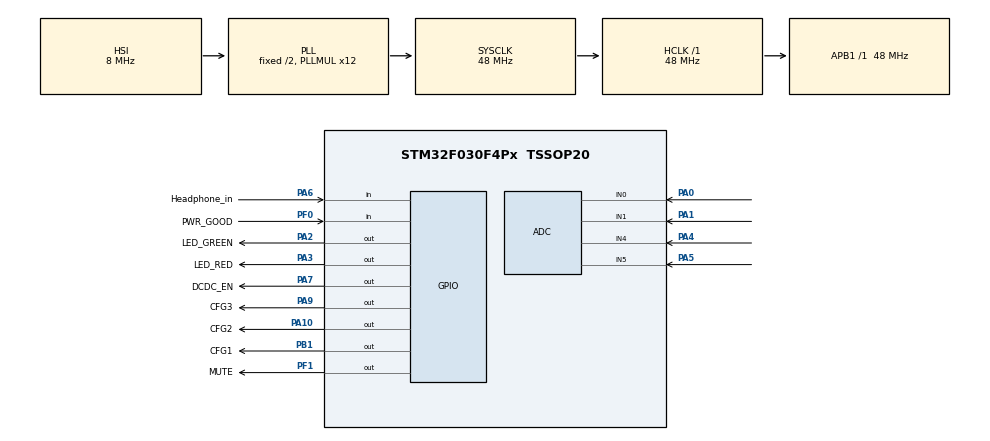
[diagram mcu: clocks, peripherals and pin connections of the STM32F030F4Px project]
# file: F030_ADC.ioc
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ADC.ClockPrescaler=ADC_CLOCK_SYNC_PCLK_DIV4
ADC.ContinuousConvMode=ENABLE
ADC.DMAContinuousRequests=ENABLE
ADC.EOCSelection=ADC_EOC_SEQ_CONV
ADC.ExternalTrigConv=ADC_SOFTWARE_START
ADC.SamplingTime=ADC_SAMPLETIME_239CYCLES_5
ADC.ScanConvMode=ADC_SCAN_DIRECTION_FORWARD
Dma.ADC.0.Direction=DMA_PERIPH_TO_MEMORY
Dma.ADC.0.Instance=DMA1_Channel1
Dma.ADC.0.MemDataAlignment=DMA_MDATAALIGN_HALFWORD
Dma.ADC.0.MemInc=DMA_MINC_ENABLE
Dma.ADC.0.Mode=DMA_CIRCULAR
Dma.ADC.0.PeriphDataAlignment=DMA_PDATAALIGN_HALFWORD
Dma.ADC.0.PeriphInc=DMA_PINC_DISABLE
Dma.ADC.0.Priority=DMA_PRIORITY_LOW
Dma.Request0=ADC
Mcu.Family=STM32F0
Mcu.Name=STM32F030F4Px
Mcu.Package=TSSOP20
NVIC.TIM14_IRQn=true\:0\:0\:true\:false\:true\:true\:true\:true
NVIC.TIM16_IRQn=true\:0\:0\:false\:false\:true\:true\:true\:true
NVIC.TIM1_BRK_UP_TRG_COM_IRQn=true\:2\:0\:true\:false\:true\:true\:true\:true
NVIC.TIM3_IRQn=true\:0\:0\:true\:false\:true\:true\:true\:true
PA0.Mode=IN0
PA0.Signal=ADC_IN0
PA1.Mode=IN1
PA1.Signal=ADC_IN1
PA10.GPIO_Label=CFG2
PA10.GPIO_PuPd=GPIO_PULLDOWN
PA10.Signal=GPIO_Output
PA13.Mode=Serial_Wire
PA13.Signal=SYS_SWDIO
PA14.Mode=Serial_Wire
PA14.Signal=SYS_SWCLK
PA2.GPIO_Label=LED_GREEN
PA2.GPIO_PuPd=GPIO_NOPULL
PA2.PinState=GPIO_PIN_RESET
PA2.Signal=GPIO_Output
PA3.GPIO_Label=LED_RED
PA3.Signal=GPIO_Output
PA4.Mode=IN4
PA4.Signal=ADC_IN4
PA5.Mode=IN5
PA5.Signal=ADC_IN5
PA6.GPIO_Label=Headphone_in
PA6.GPIO_PuPd=GPIO_NOPULL
PA6.Signal=GPIO_Input
PA7.GPIO_Label=DCDC_EN
PA7.Signal=GPIO_Output
PA9.GPIO_Label=CFG3
PA9.GPIO_PuPd=GPIO_PULLDOWN
PA9.Signal=GPIO_Output
PB1.GPIO_Label=CFG1
PB1.GPIO_PuPd=GPIO_PULLUP
PB1.PinState=GPIO_PIN_RESET
PB1.Signal=GPIO_Output
PF0-OSC_IN.GPIO_Label=PWR_GOOD
PF0-OSC_IN.GPIO_PuPd=GPIO_PULLUP
PF0-OSC_IN.Signal=GPIO_Input
PF1-OSC_OUT.GPIO_Label=MUTE
PF1-OSC_OUT.Signal=GPIO_Output
ProjectManager.HeapSize=0x200
ProjectManager.StackSize=0x400
ProjectManager.TargetToolchain=MDK-ARM V5.32
RCC.AHBFreq_Value=48000000
RCC.APB1Freq_Value=48000000
RCC.APB1TimFreq_Value=48000000
RCC.HCLKFreq_Value=48000000
RCC.PLLMUL=RCC_PLL_MUL12
RCC.SYSCLKFreq_VALUE=48000000
RCC.SYSCLKSource=RCC_SYSCLKSOURCE_PLLCLK
TIM1.AutoReloadPreload=TIM_AUTORELOAD_PRELOAD_ENABLE
TIM1.Period=1000-1
TIM1.Prescaler=48-1
TIM14.Period=10000-1
TIM14.Prescaler=4800-1
TIM16.AutoReloadPreload=TIM_AUTORELOAD_PRELOAD_DISABLE
TIM16.Period=10000-1
TIM16.Prescaler=48000-1
TIM3.Period=100-1
TIM3.Prescaler=48-1
TIM3.TIM_MasterOutputTrigger=TIM_TRGO_RESET
VP_TIM14_VS_ClockSourceINT.Mode=Enable_Timer
VP_TIM16_VS_ClockSourceINT.Mode=Enable_Timer
VP_TIM1_VS_ClockSourceINT.Mode=Internal
VP_TIM3_VS_ClockSourceINT.Mode=Internal
board=custom

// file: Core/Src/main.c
/* USER CODE BEGIN Header */
/**
  ******************************************************************************
  * @file           : main.c
  * @brief          : Main program body
  ******************************************************************************
  * @attention
  *
  * Copyright (c) 2024 STMicroelectronics.
  * All rights reserved.
  *
  * This software is licensed under terms that can be found in the LICENSE file
  * in the root directory of this software component.
  * If no LICENSE file comes with this software, it is provided AS-IS.
  *
  ******************************************************************************
  */
/* USER CODE END Header */
#include "main.h"
#include "adc.h"
#include "dma.h"
#include "tim.h"
#include "gpio.h"

/* USER CODE BEGIN Includes */
enum State //功放状态
{
  IDLE,//初始状态
  INIT,//上电初始化状态
  WORKING,//正常工作状态
  SLEEP,//休眠状态
  SHUTDOWN,//关闭状态
};
uint8_t  sys_state = IDLE;//状态
//ADC数组
uint16_t ADC_data[4] = {0}; //定义ADC数组
uint16_t sys_sleep_req = 0;//系统睡眠请求
/* USER CODE END Includes */

/* USER CODE BEGIN PTD */
/**
 * @description: PD诱骗器函数
 * @event:
 * @return {*}
 */
void USB_PD_Init(void)
{
  //请求9V电压
  HAL_GPIO_WritePin(CFG1_GPIO_Port,CFG1_Pin,GPIO_PIN_RESET);//拉低CFG1
  HAL_GPIO_WritePin(CFG2_GPIO_Port,CFG2_Pin,GPIO_PIN_RESET);//拉低cfg2
  HAL_GPIO_WritePin(CFG3_GPIO_Port,CFG3_Pin,GPIO_PIN_RESET);//拉低cfg3
}

/**
 * @description: 解除PD诱骗函数
 * @event:
 * @return {*}
 */
void USB_PD_DeInit(void)
{
  HAL_GPIO_WritePin(CFG1_GPIO_Port,CFG1_Pin,GPIO_PIN_SET);//拉高CFG1 请求5V电压
}

/**
 * @description: 错误处理函数
 * @event: 直流检测出现错误时进入 立刻关闭电源进行保护
 * @return {*}
 */
void My_Error_Handle(void)
{
  __IO uint16_t time = 0xffff;
  __disable_irq();//关闭所有中断
  MUTE_GPIO_Port -> BRR = MUTE_Pin;//关闭继电器 静音
  DCDC_EN_GPIO_Port -> BRR = DCDC_EN_Pin;//关闭功放电源
  LED_GREEN_GPIO_Port -> BSRR = LED_GREEN_Pin;//关闭work灯
  while (1)
  {
    //LED红灯闪烁提示
    HAL_GPIO_TogglePin(LED_RED_GPIO_Port,LED_RED_Pin);//红灯闪烁
    for (uint8_t i = 0; i < 20; i++)
    {
      while (time--);
      time = 0xffff;
    }
    //不能使用systick进行延时，以免在中断中出错时卡死
  }
}

/**
 * @description: SWD接口复用 重新初始化函数
 * @event: 把SWD接口复用成普通GPIO使用
 * @return {*}
 */
void SWD_GPIO_ReInit()
{
  GPIO_InitTypeDef GPIO_InitStruct = {0};
  HAL_GPIO_WritePin(Aux_in_GPIO_Port, Aux_in_Pin, GPIO_PIN_RESET);
  HAL_GPIO_WritePin(PWR_CON_GPIO_Port, PWR_CON_Pin, GPIO_PIN_RESET);
  /*Configure GPIO pin : PtPin */
  //初始化信源插入检测端口
  GPIO_InitStruct.Pin = Aux_in_Pin;
  GPIO_InitStruct.Mode = GPIO_MODE_INPUT;
  GPIO_InitStruct.Pull = GPIO_NOPULL;//浮空输入 使用外部1MΩ上拉电阻
  HAL_GPIO_Init(Aux_in_GPIO_Port, &GPIO_InitStruct);
  /*Configure GPIO pin : PtPin */
  //初始化电源开关输入IO
  GPIO_InitStruct.Pin = PWR_CON_Pin;
  GPIO_InitStruct.Mode = GPIO_MODE_INPUT;
  GPIO_InitStruct.Pull = GPIO_PULLUP;//上拉输入模式
  HAL_GPIO_Init(PWR_CON_GPIO_Port, &GPIO_InitStruct);
}

/* USER CODE END PTD */

void SystemClock_Config(void);

int main(void)
{

  /* MCU Configuration--------------------------------------------------------*/

  /* Reset of all peripherals, Initializes the Flash interface and the Systick. */
  HAL_Init();

  /* Configure the system clock */
  SystemClock_Config();

  /* Initialize all configured peripherals */
  MX_GPIO_Init();
  MX_DMA_Init();
  MX_ADC_Init();
  MX_TIM1_Init();
  MX_TIM3_Init();
  MX_TIM14_Init();
  MX_TIM16_Init();

  /* Infinite loop */
  /* USER CODE BEGIN WHILE */
  HAL_Delay(1000);//防si
  SWD_GPIO_ReInit();//重新初始化SWD接口
  LED_GREEN_GPIO_Port -> BSRR = LED_GREEN_Pin;//熄灭绿色LED
  LED_RED_GPIO_Port -> BSRR = LED_RED_Pin;//熄灭红色LED
  if(HAL_GPIO_ReadPin(PWR_CON_GPIO_Port,PWR_CON_Pin) == GPIO_PIN_SET)
      sys_state = INIT;//跳转到初始化状态
  else
  {
	  USB_PD_DeInit();//关闭诱骗 省电
      sys_state = SHUTDOWN;
  }
  while (1)
  {
    switch(sys_state)//判断目前状态
    {
    case INIT:
      HAL_TIM_Base_Start_IT(&htim3);//打开LED呼吸灯
      __HAL_TIM_CLEAR_IT(&htim16,TIM_IT_UPDATE);//清除中断标志位，防止使能定时器就进入中断
      HAL_TIM_Base_Start_IT(&htim16);//打开定时器计时10s 如果10s后还没有诱骗成功 就err
      while(HAL_GPIO_ReadPin(PWR_GOOD_GPIO_Port,PWR_GOOD_Pin) != GPIO_PIN_RESET)
		  HAL_Delay(10);//等待PWRGOOD输出低电平 诱骗成功
      HAL_TIM_Base_Stop_IT(&htim16);//诱骗成功 关闭定时器
      LED_GREEN_GPIO_Port -> BSRR = LED_GREEN_Pin;//熄灭绿色LED
      LED_RED_GPIO_Port -> BSRR = LED_RED_Pin;//熄灭红色LED
      HAL_ADC_Start_DMA(&hadc,(uint32_t *)&ADC_data, 4);//开启ADC
//	  if((!HAL_GPIO_ReadPin(Headphone_in_GPIO_Port,Headphone_in_Pin)) || (!HAL_GPIO_ReadPin(Aux_in_GPIO_Port,Aux_in_Pin)))//如果检测到没有插入
//	  {
//        sys_state = SLEEP;//切换到SLEEP状态
//		break;
//	  }
      DCDC_EN_GPIO_Port -> BSRR = DCDC_EN_Pin;//打开功放电源
	    HAL_Delay(1000);//防浪涌冲击
	    HAL_TIM_Base_Stop_IT (&htim3 );//关闭LED呼吸灯
	    HAL_TIM_Base_Start_IT(&htim1 );//启动直流分量检测定时器
	    HAL_TIM_Base_Start_IT(&htim14);//启动输入检测超时时间定时器
      MUTE_GPIO_Port      -> BSRR = MUTE_Pin;//打开继电器 输出音频
      LED_GREEN_GPIO_Port -> BRR  = LED_GREEN_Pin;//进入工作状态, 打开绿色LED指示灯
      sys_state = WORKING;//初始化完成,切换到工作状态
      break;

   case WORKING:
     if(sys_sleep_req)//判断是否有系统睡眠请求
     {
       sys_sleep_req = 0;//清零事件标志位
       HAL_TIM_Base_Stop_IT(&htim1);//关闭直流分量检测定时器 不然断电瞬间检测到直流异常会进入errorhandle
       HAL_TIM_Base_Stop_IT(&htim14);//输入检测超时时间定时器
       MUTE_GPIO_Port -> BRR = MUTE_Pin;//关闭继电器 静音
       HAL_Delay(100);//延时关闭电源防止POP音
       DCDC_EN_GPIO_Port -> BRR = DCDC_EN_Pin;//关闭功放电源
       HAL_TIM_Base_Start_IT(&htim3);//打开LED呼吸灯
       sys_state = SLEEP;//切换到SLEEP状态
     }
     if(HAL_GPIO_ReadPin(PWR_CON_GPIO_Port,PWR_CON_Pin) == GPIO_PIN_RESET)//如果读取到开关被关掉了 那么直接切换到SHUTDOWN
     {
       HAL_TIM_Base_Stop_IT(&htim1);//关闭直流分量检测定时器 不然断电瞬间检测到直流异常会进入errorhandle
       HAL_TIM_Base_Stop_IT(&htim14);//输入检测超时时间定时器
       MUTE_GPIO_Port -> BRR = MUTE_Pin;//关闭继电器 静音
       HAL_Delay(100);//延时关闭电源防止POP音
       DCDC_EN_GPIO_Port -> BRR = DCDC_EN_Pin;//关闭功放电源
		    LED_GREEN_GPIO_Port -> BSRR = LED_GREEN_Pin;//关闭LED
       USB_PD_DeInit();//关闭诱骗 省电
       HAL_ADC_Stop_DMA(&hadc);//Shutdown状态不需要输入检测 所以关闭adc
       sys_state = SHUTDOWN;//切换到SHUTDOWN状态
     }
      break;

   case SLEEP:
	  if(HAL_GPIO_ReadPin(PWR_CON_GPIO_Port,PWR_CON_Pin) == GPIO_PIN_RESET)//如果读取到开关被关掉了 那么直接切换到SHUTDOWN
     {
       HAL_TIM_Base_Stop_IT(&htim3);//关闭LED呼吸灯
       LED_GREEN_GPIO_Port -> BSRR = LED_GREEN_Pin;//关闭绿色LED
       USB_PD_DeInit();//关闭诱骗 省电
       HAL_ADC_Stop_DMA(&hadc);//Shutdown状态不需要输入检测 所以关闭adc
       sys_state = SHUTDOWN;//切换到SHUTDOWN状态
     }
     if((ADC_data[0] != 0) && (ADC_data[1] != 0) && (HAL_GPIO_ReadPin(Headphone_in_GPIO_Port,Headphone_in_Pin)))//唤醒
		    sys_state = INIT;//切换到初始化状态 重新初始化系统

     break;

   case SHUTDOWN:
     if(HAL_GPIO_ReadPin(PWR_CON_GPIO_Port,PWR_CON_Pin) == GPIO_PIN_RESET)//读取开关是否被打开
	 {
	   USB_PD_Init();//请求诱骗9V电压
       sys_state = INIT;//切换到初始化状态 重新初始化系统
	 }
     break;

    default:
      My_Error_Handle();//进入错误处理函数
      break;
    }
}
    /* USER CODE END WHILE */

}

void SystemClock_Config(void)
{
  RCC_OscInitTypeDef RCC_OscInitStruct = {0};
  RCC_ClkInitTypeDef RCC_ClkInitStruct = {0};

  /** Initializes the RCC Oscillators according to the specified parameters
  * in the RCC_OscInitTypeDef structure.
  */
  RCC_OscInitStruct.OscillatorType = RCC_OSCILLATORTYPE_HSI;
  RCC_OscInitStruct.HSIState = RCC_HSI_ON;
  RCC_OscInitStruct.HSICalibrationValue = RCC_HSICALIBRATION_DEFAULT;
  RCC_OscInitStruct.PLL.PLLState = RCC_PLL_ON;
  RCC_OscInitStruct.PLL.PLLSource = RCC_PLLSOURCE_HSI;
  RCC_OscInitStruct.PLL.PLLMUL = RCC_PLL_MUL12;
  RCC_OscInitStruct.PLL.PREDIV = RCC_PREDIV_DIV1;
  if (HAL_RCC_OscConfig(&RCC_OscInitStruct) != HAL_OK)
  {
    Error_Handler();
  }

  /** Initializes the CPU, AHB and APB buses clocks
  */
  RCC_ClkInitStruct.ClockType = RCC_CLOCKTYPE_HCLK|RCC_CLOCKTYPE_SYSCLK
                              |RCC_CLOCKTYPE_PCLK1;
  RCC_ClkInitStruct.SYSCLKSource = RCC_SYSCLKSOURCE_PLLCLK;
  RCC_ClkInitStruct.AHBCLKDivider = RCC_SYSCLK_DIV1;
  RCC_ClkInitStruct.APB1CLKDivider = RCC_HCLK_DIV1;

  if (HAL_RCC_ClockConfig(&RCC_ClkInitStruct, FLASH_LATENCY_1) != HAL_OK)
  {
    Error_Handler();
  }
}

void Error_Handler(void)
{
  /* USER CODE BEGIN Error_Handler_Debug */
  /* User can add his own implementation to report the HAL error return state */
  __disable_irq();//关闭所有中断
  while (1)
  {
	  HAL_NVIC_SystemReset();//系统重启
  }
  /* USER CODE END Error_Handler_Debug */
}
